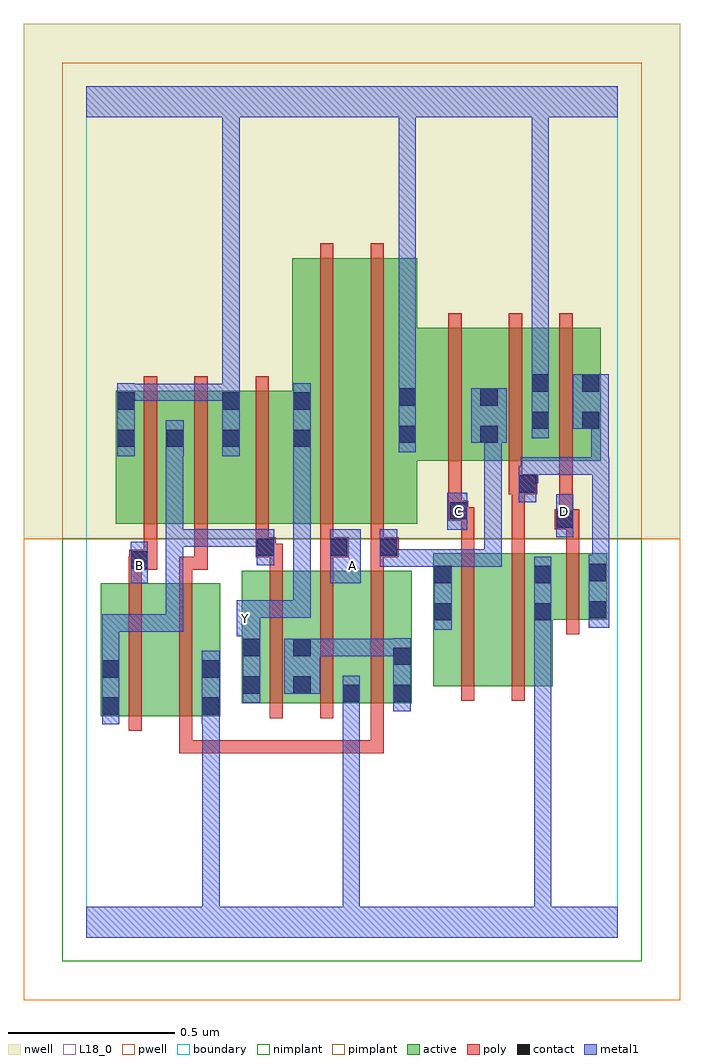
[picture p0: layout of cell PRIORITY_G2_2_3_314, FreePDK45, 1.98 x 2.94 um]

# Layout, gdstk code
import gdstk
lib = gdstk.Library(unit=1e-6, precision=1e-09)
def R(c, l, rs):  # rectangles x0, y0, x1, y1
    for r in rs: c.add(gdstk.rectangle(r[:2], r[2:], *l))
def A(c, l, x, y, w, h, nx, ny, dx, dy):  # array of equal rectangles
    R(c, l, [(x+i*dx, y+j*dy, x+i*dx+w, y+j*dy+h) for i in range(nx) for j in range(ny)])
active = (1, 0)
pwell = (2, 0)
nwell = (3, 0)
nimplant = (4, 0)
pimplant = (5, 0)
poly = (9, 0)
contact = (10, 0)
metal1 = (11, 0)
L18_0 = (18, 0)
boundary = (235, 0)

priority_g2_2_3_314 = lib.new_cell('PRIORITY_G2_2_3_314')
R(priority_g2_2_3_314, active, [(0.044,0.666,0.104,1.066), (0.044,0.666,0.224,1.066), (0.224,0.666,0.404,1.066), (0.344,0.666,0.404,1.066), (0.468,0.704,0.528,1.104), (0.468,0.704,0.68,1.104), (0.62,0.704,0.68,1.104), (0.62,0.704,0.828,1.104), (0.768,0.704,0.98,1.104), (0.768,0.704,0.828,0.828), (0.92,0.704,0.98,1.104), (1.044,0.756,1.104,1.156), (1.044,0.756,1.224,1.156), (1.224,0.756,1.404,1.156), (1.344,0.756,1.404,1.156), (1.344,0.956,1.568,1.156), (1.508,0.956,1.568,1.156), (0.09,1.244,0.15,1.644), (0.09,1.244,0.298,1.644), (0.238,1.244,0.466,1.644), (0.406,1.244,0.466,1.644), (0.406,1.244,0.68,1.644), (0.62,1.244,0.8,2.044), (0.8,1.244,0.996,2.044), (0.936,1.434,1.242,1.834), (0.936,1.434,0.996,1.766), (1.182,1.434,1.242,1.834), (1.182,1.434,1.396,1.834), (1.336,1.434,1.396,1.834), (1.336,1.434,1.548,1.834), (1.488,1.434,1.548,1.834), (0.238,1.472,0.298,1.644), (0.62,1.472,0.68,1.644)])
R(priority_g2_2_3_314, pwell, [(-0.188,-0.188,1.788,1.2)])
R(priority_g2_2_3_314, nwell, [(-0.188,1.2,1.788,2.748)])
R(priority_g2_2_3_314, nimplant, [(-0.072,-0.072,1.672,1.2)])
R(priority_g2_2_3_314, pimplant, [(-0.072,1.2,1.672,2.632)])
A(priority_g2_2_3_314, poly, 0.552, 0.66, 0.04, 0.488, 3, 1, 0.152, 0)
A(priority_g2_2_3_314, poly, 0.552, 1.108, 0.04, 0.076, 3, 1, 0.152, 0)
R(priority_g2_2_3_314, poly, [(0.28,0.554,0.32,0.594), (0.28,0.554,0.32,0.594), (0.28,0.554,0.32,0.594), (0.28,0.554,0.32,0.662), (0.28,0.554,0.426,0.594), (0.386,0.554,0.426,0.594), (0.386,0.554,0.426,0.594), (0.386,0.554,0.426,0.594), (0.386,0.554,0.532,0.594), (0.492,0.554,0.532,0.594), (0.492,0.554,0.532,0.594), (0.492,0.554,0.532,0.594), (0.492,0.554,0.896,0.594), (0.856,0.554,0.896,0.594), (0.856,0.554,0.896,0.594), (0.856,0.554,0.896,0.594), (0.856,0.554,0.896,0.7), (0.128,0.622,0.168,1.11), (0.28,0.622,0.32,1.11), (1.128,0.712,1.168,1.2), (1.28,0.712,1.32,1.2), (1.444,0.912,1.484,1.2), (0.128,1.07,0.168,1.146), (0.28,1.07,0.32,1.146), (0.128,1.106,0.17,1.146), (0.13,1.106,0.17,1.146), (0.13,1.106,0.214,1.166), (0.28,1.106,0.32,1.146), (0.28,1.106,0.32,1.146), (0.28,1.106,0.366,1.146), (0.326,1.106,0.366,1.24), (0.174,1.126,0.214,1.24), (0.51,1.144,0.57,1.204), (0.53,1.144,0.57,1.184), (0.53,1.144,0.592,1.184), (0.704,1.144,0.79,1.204), (0.856,1.144,0.94,1.204), (1.128,1.16,1.168,1.294), (1.28,1.16,1.32,1.374), (1.444,1.16,1.484,1.268), (0.51,1.164,0.55,1.24), (0.704,1.164,0.744,1.204), (0.704,1.164,0.744,1.204), (0.704,1.164,0.744,1.24), (0.856,1.164,0.896,1.204), (0.856,1.164,0.896,1.204), (0.856,1.164,0.896,1.24), (0.174,1.2,0.214,1.688), (0.326,1.2,0.366,1.688), (0.51,1.2,0.55,1.688), (0.704,1.2,0.744,2.088), (0.856,1.2,0.896,2.088), (1.41,1.228,1.484,1.288), (1.424,1.248,1.464,1.43), (1.424,1.248,1.464,1.288), (1.424,1.248,1.464,1.288), (1.09,1.254,1.15,1.314), (1.11,1.254,1.15,1.294), (1.11,1.254,1.168,1.294), (1.09,1.274,1.13,1.43), (1.272,1.334,1.358,1.394), (1.28,1.334,1.32,1.374), (1.28,1.334,1.32,1.374), (1.272,1.354,1.312,1.43), (1.09,1.39,1.13,1.878), (1.272,1.39,1.312,1.878), (1.424,1.39,1.464,1.878)])
R(priority_g2_2_3_314, contact, [(0.048,0.67,0.1,0.722), (0.348,0.67,0.4,0.722), (0.772,0.708,0.824,0.76), (0.924,0.708,0.976,0.76), (0.472,0.734,0.524,0.786), (0.624,0.734,0.676,0.786), (0.048,0.782,0.1,0.834), (0.348,0.782,0.4,0.834), (0.924,0.82,0.976,0.872), (0.472,0.846,0.524,0.898), (0.624,0.846,0.676,0.898), (1.048,0.954,1.1,1.006), (1.348,0.954,1.4,1.006), (1.512,0.96,1.564,1.012), (1.048,1.066,1.1,1.118), (1.348,1.066,1.4,1.118), (1.512,1.072,1.564,1.124), (0.134,1.11,0.186,1.162), (0.514,1.148,0.566,1.2), (0.734,1.148,0.786,1.2), (0.884,1.148,0.936,1.2), (1.414,1.232,1.466,1.284), (1.094,1.258,1.146,1.31), (1.302,1.338,1.354,1.39), (0.094,1.476,0.146,1.528), (0.242,1.476,0.294,1.528), (0.41,1.476,0.462,1.528), (0.624,1.476,0.676,1.528), (0.94,1.488,0.992,1.54), (1.186,1.488,1.238,1.54), (1.34,1.53,1.392,1.582), (1.492,1.53,1.544,1.582), (0.094,1.588,0.146,1.64), (0.41,1.588,0.462,1.64), (0.624,1.588,0.676,1.64), (0.94,1.6,0.992,1.652), (1.186,1.6,1.238,1.652), (1.34,1.642,1.392,1.694), (1.492,1.642,1.544,1.694)])
R(priority_g2_2_3_314, metal1, [(0,0,1.6,0.092), (0.35,0.04,0.402,0.092), (0.35,0.04,0.402,0.092), (0.35,0.04,0.402,0.092), (0.35,0.04,0.402,0.092), (0.35,0.04,0.402,0.092), (0.35,0.04,0.402,0.092), (0.35,0.04,0.402,0.092), (0.35,0.04,0.402,0.092), (0.35,0.04,0.402,0.092), (0.35,0.04,0.402,0.092), (0.35,0.04,0.402,0.694), (0.772,0.04,0.824,0.092), (0.772,0.04,0.824,0.092), (0.772,0.04,0.824,0.092), (0.772,0.04,0.824,0.092), (0.772,0.04,0.824,0.092), (0.772,0.04,0.824,0.092), (0.772,0.04,0.824,0.092), (0.772,0.04,0.824,0.092), (0.772,0.04,0.824,0.092), (0.772,0.04,0.824,0.092), (0.772,0.04,0.824,0.732), (1.348,0.04,1.4,0.092), (1.348,0.04,1.4,0.092), (1.348,0.04,1.4,0.092), (1.348,0.04,1.4,0.092), (1.348,0.04,1.4,0.092), (1.348,0.04,1.4,0.092), (1.348,0.04,1.4,0.092), (1.348,0.04,1.4,0.092), (1.348,0.04,1.4,0.978), (0.048,0.642,0.1,0.862), (0.348,0.642,0.402,0.862), (0.35,0.642,0.402,0.694), (0.35,0.642,0.402,0.694), (0.772,0.68,0.824,0.732), (0.772,0.68,0.824,0.732), (0.772,0.68,0.824,0.788), (0.924,0.68,0.976,0.9), (0.472,0.706,0.524,0.926), (0.596,0.734,0.704,0.898), (0.048,0.81,0.1,0.972), (0.652,0.846,0.826,0.898), (0.774,0.846,0.826,0.898), (0.774,0.846,0.826,0.898), (0.774,0.846,0.826,0.898), (0.774,0.846,0.976,0.898), (0.924,0.846,0.976,0.898), (0.924,0.846,0.976,0.898), (0.472,0.874,0.524,0.958), (0.454,0.906,0.524,1.014), (0.048,0.92,0.1,0.972), (0.048,0.92,0.1,0.972), (0.048,0.92,0.1,0.972), (0.048,0.92,0.292,0.972), (0.24,0.92,0.292,0.972), (0.24,0.92,0.292,1.228), (1.048,0.926,1.1,1.146), (1.348,0.926,1.4,0.978), (1.348,0.926,1.4,0.978), (1.348,0.926,1.4,0.978), (1.348,0.926,1.4,0.978), (1.348,0.926,1.4,1.146), (1.512,0.932,1.574,1.152), (0.472,0.962,0.676,1.014), (0.624,0.962,0.676,1.014), (0.624,0.962,0.676,1.014), (0.624,0.962,0.676,1.014), (0.624,0.962,0.676,1.014), (0.624,0.962,0.676,1.014), (0.624,0.962,0.676,1.5), (0.134,1.066,0.186,1.19), (0.734,1.066,0.826,1.228), (1.048,1.094,1.1,1.168), (1.522,1.1,1.574,1.444), (1.522,1.1,1.574,1.152), (1.522,1.1,1.574,1.152), (0.884,1.116,1.1,1.168), (0.884,1.116,0.936,1.172), (1.048,1.116,1.1,1.168), (1.048,1.116,1.1,1.168), (1.048,1.116,1.1,1.168), (1.048,1.116,1.25,1.168), (1.198,1.116,1.25,1.168), (1.198,1.116,1.25,1.168), (1.198,1.116,1.25,1.168), (1.198,1.116,1.25,1.54), (0.514,1.12,0.566,1.228), (0.884,1.12,0.936,1.172), (0.884,1.12,0.936,1.228), (0.24,1.176,0.292,1.228), (0.24,1.176,0.366,1.228), (0.24,1.176,0.292,1.5), (0.314,1.176,0.366,1.228), (0.314,1.176,0.456,1.228), (0.404,1.176,0.456,1.228), (0.404,1.176,0.538,1.228), (0.486,1.176,0.538,1.228), (0.486,1.176,0.566,1.228), (1.414,1.204,1.466,1.334), (1.086,1.226,1.146,1.338), (1.302,1.31,1.354,1.418), (1.302,1.366,1.36,1.418), (1.308,1.366,1.36,1.444), (1.308,1.392,1.572,1.444), (1.52,1.392,1.572,1.582), (1.52,1.392,1.572,1.444), (1.52,1.392,1.572,1.444), (1.52,1.392,1.574,1.444), (0.094,1.448,0.146,1.668), (0.24,1.448,0.294,1.556), (0.41,1.448,0.462,1.668), (0.624,1.448,0.676,1.668), (0.94,1.46,0.992,1.68), (1.158,1.488,1.266,1.652), (1.34,1.502,1.392,1.722), (1.464,1.53,1.572,1.694), (0.094,1.614,0.256,1.666), (0.204,1.614,0.256,1.666), (0.204,1.614,0.256,1.666), (0.204,1.614,0.256,1.666), (0.204,1.614,0.366,1.666), (0.314,1.614,0.366,1.666), (0.314,1.614,0.462,1.666), (0.41,1.616,0.462,1.668), (0.41,1.616,0.462,1.668), (0.41,1.616,0.462,2.52), (0.94,1.628,0.992,2.52), (1.34,1.67,1.392,2.52), (0,2.468,1.6,2.56), (0.41,2.468,0.462,2.52), (0.41,2.468,0.462,2.52), (0.41,2.468,0.462,2.52), (0.41,2.468,0.462,2.52), (0.41,2.468,0.462,2.52), (0.41,2.468,0.462,2.52), (0.41,2.468,0.462,2.52), (0.41,2.468,0.462,2.52), (0.41,2.468,0.462,2.52), (0.41,2.468,0.462,2.52), (0.41,2.468,0.462,2.52), (0.41,2.468,0.462,2.52), (0.41,2.468,0.462,2.52), (0.41,2.468,0.462,2.52), (0.94,2.468,0.992,2.52), (0.94,2.468,0.992,2.52), (0.94,2.468,0.992,2.52), (0.94,2.468,0.992,2.52), (0.94,2.468,0.992,2.52), (0.94,2.468,0.992,2.52), (0.94,2.468,0.992,2.52), (0.94,2.468,0.992,2.52), (1.34,2.468,1.392,2.52), (1.34,2.468,1.392,2.52), (1.34,2.468,1.392,2.52), (1.34,2.468,1.392,2.52), (1.34,2.468,1.392,2.52), (1.34,2.468,1.392,2.52), (1.34,2.468,1.392,2.52), (1.34,2.468,1.392,2.52), (1.34,2.468,1.392,2.52), (1.34,2.468,1.392,2.52), (1.34,2.468,1.392,2.52), (1.34,2.468,1.392,2.52), (1.34,2.468,1.392,2.52), (1.34,2.468,1.392,2.52), (1.34,2.468,1.392,2.52), (1.34,2.468,1.392,2.52)])
R(priority_g2_2_3_314, L18_0, [(0,0,1.6,0.092), (0.35,0.04,0.402,0.092), (0.35,0.04,0.402,0.092), (0.35,0.04,0.402,0.092), (0.35,0.04,0.402,0.092), (0.35,0.04,0.402,0.092), (0.35,0.04,0.402,0.092), (0.35,0.04,0.402,0.092), (0.35,0.04,0.402,0.092), (0.35,0.04,0.402,0.092), (0.35,0.04,0.402,0.092), (0.35,0.04,0.402,0.694), (0.772,0.04,0.824,0.092), (0.772,0.04,0.824,0.092), (0.772,0.04,0.824,0.092), (0.772,0.04,0.824,0.092), (0.772,0.04,0.824,0.092), (0.772,0.04,0.824,0.092), (0.772,0.04,0.824,0.092), (0.772,0.04,0.824,0.092), (0.772,0.04,0.824,0.092), (0.772,0.04,0.824,0.092), (0.772,0.04,0.824,0.732), (1.348,0.04,1.4,0.092), (1.348,0.04,1.4,0.092), (1.348,0.04,1.4,0.092), (1.348,0.04,1.4,0.092), (1.348,0.04,1.4,0.092), (1.348,0.04,1.4,0.092), (1.348,0.04,1.4,0.092), (1.348,0.04,1.4,0.092), (1.348,0.04,1.4,0.978), (0.348,0.642,0.402,0.862), (0.35,0.642,0.402,0.694), (0.35,0.642,0.402,0.694), (0.772,0.68,0.824,0.732), (0.772,0.68,0.824,0.732), (0.772,0.68,0.824,0.788), (0.472,0.706,0.524,0.926), (0.472,0.874,0.524,0.958), (0.454,0.906,0.524,1.014), (1.348,0.926,1.4,1.146), (1.348,0.926,1.4,0.978), (1.348,0.926,1.4,0.978), (1.348,0.926,1.4,0.978), (1.348,0.926,1.4,0.978), (0.454,0.934,0.506,0.986), (0.472,0.962,0.676,1.014), (0.624,0.962,0.676,1.014), (0.624,0.962,0.676,1.014), (0.624,0.962,0.676,1.014), (0.624,0.962,0.676,1.014), (0.624,0.962,0.676,1.014), (0.624,0.962,0.676,1.5), (0.134,1.066,0.186,1.19), (0.734,1.066,0.826,1.228), (0.134,1.094,0.186,1.146), (0.774,1.094,0.826,1.146), (1.414,1.204,1.466,1.334), (1.086,1.226,1.146,1.338), (1.094,1.254,1.146,1.306), (1.414,1.254,1.466,1.306), (0.094,1.448,0.146,1.668), (0.41,1.448,0.462,1.668), (0.624,1.448,0.676,1.668), (0.94,1.46,0.992,1.68), (1.34,1.502,1.392,1.722), (0.094,1.614,0.256,1.666), (0.204,1.614,0.256,1.666), (0.204,1.614,0.256,1.666), (0.204,1.614,0.256,1.666), (0.204,1.614,0.366,1.666), (0.314,1.614,0.366,1.666), (0.314,1.614,0.462,1.666), (0.41,1.616,0.462,1.668), (0.41,1.616,0.462,1.668), (0.41,1.616,0.462,2.52), (0.94,1.628,0.992,2.52), (1.34,1.67,1.392,2.52), (0,2.468,1.6,2.56), (0.41,2.468,0.462,2.52), (0.41,2.468,0.462,2.52), (0.41,2.468,0.462,2.52), (0.41,2.468,0.462,2.52), (0.41,2.468,0.462,2.52), (0.41,2.468,0.462,2.52), (0.41,2.468,0.462,2.52), (0.41,2.468,0.462,2.52), (0.41,2.468,0.462,2.52), (0.41,2.468,0.462,2.52), (0.41,2.468,0.462,2.52), (0.41,2.468,0.462,2.52), (0.41,2.468,0.462,2.52), (0.41,2.468,0.462,2.52), (0.94,2.468,0.992,2.52), (0.94,2.468,0.992,2.52), (0.94,2.468,0.992,2.52), (0.94,2.468,0.992,2.52), (0.94,2.468,0.992,2.52), (0.94,2.468,0.992,2.52), (0.94,2.468,0.992,2.52), (0.94,2.468,0.992,2.52), (1.34,2.468,1.392,2.52), (1.34,2.468,1.392,2.52), (1.34,2.468,1.392,2.52), (1.34,2.468,1.392,2.52), (1.34,2.468,1.392,2.52), (1.34,2.468,1.392,2.52), (1.34,2.468,1.392,2.52), (1.34,2.468,1.392,2.52), (1.34,2.468,1.392,2.52), (1.34,2.468,1.392,2.52), (1.34,2.468,1.392,2.52), (1.34,2.468,1.392,2.52), (1.34,2.468,1.392,2.52), (1.34,2.468,1.392,2.52), (1.34,2.468,1.392,2.52), (1.34,2.468,1.392,2.52)])
R(priority_g2_2_3_314, boundary, [(0,0,1.6,2.56)])
priority_g2_2_3_314.add(gdstk.Label('A', (0.8,1.12), layer=11, texttype=0))
priority_g2_2_3_314.add(gdstk.Label('B', (0.16,1.12), layer=11, texttype=0))
priority_g2_2_3_314.add(gdstk.Label('C', (1.12,1.28), layer=11, texttype=0))
priority_g2_2_3_314.add(gdstk.Label('D', (1.44,1.28), layer=11, texttype=0))
priority_g2_2_3_314.add(gdstk.Label('Y', (0.48,0.96), layer=11, texttype=0))

lib.write_gds('PRIORITY_G2_2_3_314.gds')
